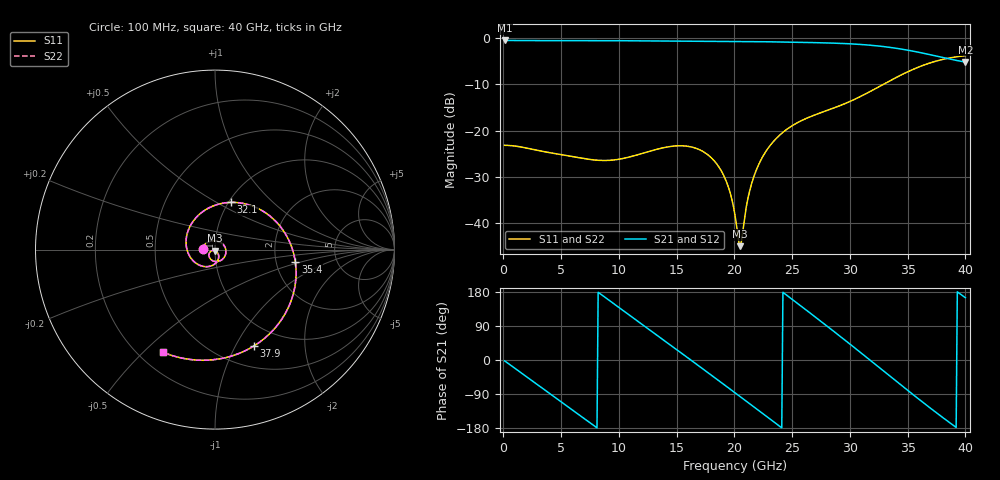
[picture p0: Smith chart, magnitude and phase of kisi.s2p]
! A_s4_d300_ap800: L1→L4 through L2/L3, drill Ø0.3, antipad Ø0.8, 4 GND vias at 1 mm
! stackup: 4-layer 1.6 mm FR-4
! ports: 1, 2
! kisi-fdtd, conformal, dfine 0.035 mm, 519453 cells
# Hz S RI R 50
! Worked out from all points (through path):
!   400 points, 100 MHz to 40 GHz, reference 50 ohm
!   highest |S21| = -0.58 dB at 100 MHz (marker M1); lowest = -5.2 dB at 40 GHz (marker M2)
!   group delay of S21, straight-line fit = 63.7 ps
!   lowest |S11| = -44.9 dB at 20.5 GHz (marker M3), VSWR 1.01, Z = 49.9 - j0.548 ohm
!   |S11| at or under -10 dB: start of sweep to 32.93 GHz
!   |S22| runs from -44.9 to -3.9 dB; largest |S21 - S12| = 2.8e-07
!   S11 on the Smith chart (normalised r, x): 100 MHz: 0.87, +0.00; 32.1 GHz: 1.03, +0.59; 35.4 GHz: 2.57, -0.43; 37.9 GHz: 0.74, -1.19; 40 GHz: 0.30, -0.58
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1e8  -0.0693 0.00154  0.9349 -0.0362  0.9349 -0.0362  -0.0693 0.00154
1.7e9  -0.0615 0.0234  0.7392 -0.5707  0.7392 -0.5707  -0.0615 0.0234
3.6e9  -0.045 0.0381  0.1684 -0.9157  0.1684 -0.9157  -0.045 0.0381
5.1e9  -0.0312 0.045  -0.3581 -0.859  -0.3581 -0.859  -0.0312 0.045
6.8e9  -0.0135 0.0485  -0.8085 -0.4628  -0.8085 -0.4628  -0.0135 0.0485
9.5e9  0.0169 0.045  -0.8041 0.4683  -0.8041 0.4683  0.0169 0.045
1.15e10  0.0468 0.0274  -0.2441 0.894  -0.2441 0.894  0.0468 0.0274
1.34e10  0.0608 -0.0175  0.419 0.8222  0.419 0.8222  0.0608 -0.0175
1.66e10  -0.00796 -0.0643  0.9091 -0.1355  0.9091 -0.1355  -0.00796 -0.0643
1.89e10  -0.031 -0.0185  0.4537 -0.7966  0.4537 -0.7966  -0.031 -0.0185
2.01e10  -0.0102 -0.00447  0.0387 -0.9136  0.0387 -0.9136  -0.0102 -0.00447
2.05e10  -0.00137 -0.00549  -0.1062 -0.9072  -0.1062 -0.9072  -0.00137 -0.00549
2.17e10  0.0188 -0.0263  -0.5095 -0.7538  -0.5095 -0.7538  0.0188 -0.0263
2.37e10  -0.00652 -0.0837  -0.888 -0.158  -0.888 -0.158  -0.00652 -0.0837
2.67e10  -0.1357 -0.0453  -0.4511 0.7648  -0.4511 0.7648  -0.1357 -0.0453
2.91e10  -0.1477 0.1108  0.3853 0.7809  0.3853 0.7809  -0.1477 0.1108
3.07e10  -0.059 0.2179  0.7702 0.3616  0.7702 0.3616  -0.059 0.2179
3.21e10  0.0889 0.2632  0.814 -0.1291  0.814 -0.1291  0.0889 0.2632
3.34e10  0.2614 0.2177  0.5971 -0.5172  0.5971 -0.5172  0.2614 0.2177
3.54e10  0.4473 -0.0671  0.00406 -0.72  0.00406 -0.72  0.4473 -0.0671
3.79e10  0.2173 -0.5366  -0.5278 -0.3219  -0.5278 -0.3219  0.2173 -0.5366
4e10  -0.2882 -0.5724  -0.5266 0.148  -0.5266 0.148  -0.2882 -0.5724
